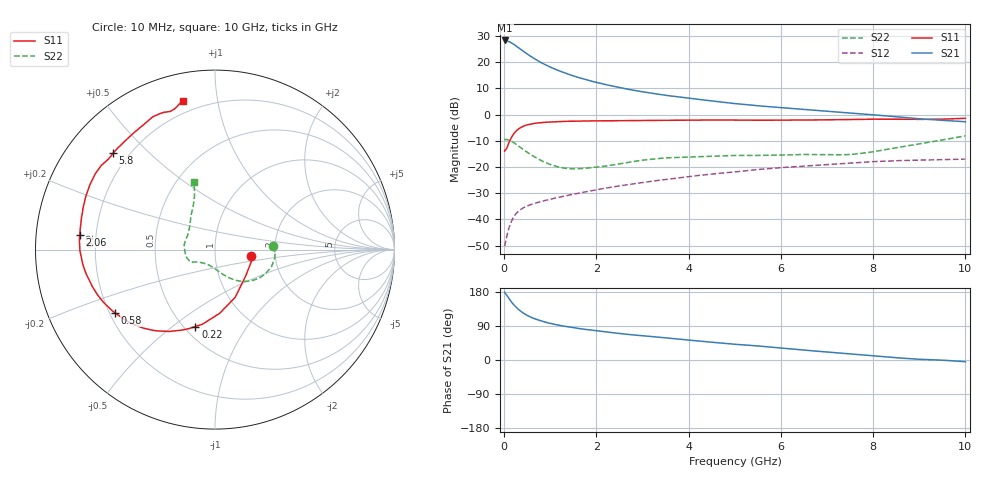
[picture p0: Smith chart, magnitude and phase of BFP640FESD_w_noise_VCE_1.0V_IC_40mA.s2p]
! Infineon Technologies  Discrete & RF Semiconductors
! BFP640FESD
! VCE =  1.0 V,  IC =  40 mA
! Common Emitter S-Parameters:  Jan 2016
# GHz  S  MA  R  50
!  f  S11  S21  S12  S22
! GHz  MAG  ANG  MAG  ANG  MAG  ANG  MAG  ANG
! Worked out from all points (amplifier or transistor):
!   233 points, 10 MHz to 10 GHz, reference 50 ohm
!   highest |S21| = 28.2 dB at 20 MHz (marker M1)
!   |S21| within 3 dB of that: start of sweep to 330.1 MHz
!   unconditionally stable (mu >= 1): start of sweep to end of sweep
!   at 200 MHz: K = 1.57, MAG = 28.6 dB, |S12| = -39.3 dB
!   at 1.74 GHz: K = 1.42, MAG = 17.7 dB, |S12| = -29.6 dB
!   at 10 GHz: K = 1.52, MAG = 2.9 dB, |S12| = -17.0 dB
!   lowest NFmin = 1.24 dB at 450 MHz
!   S11 on the Smith chart (normalised r, x): 10 MHz: 1.49, -0.11; 220 MHz: 0.57, -0.61; 580 MHz: 0.22, -0.28; 2.06 GHz: 0.14, +0.05; 5.8 GHz: 0.14, +0.39; 10 GHz: 0.13, +0.80
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0.01  0.201 -10.0  25.33 179.2  0.0031 34.1  0.3225 3.2
0.02  0.2129 -18.7  25.85 176.5  0.0034 27.4  0.3356 -2.6
0.05  0.2242 -39.7  25.31 172.1  0.0045 39.5  0.3366 -8.1
0.1  0.2894 -67.2  24.73 162.8  0.0067 50.3  0.3289 -16.9
0.15  0.3571 -86.1  23.55 154.4  0.0089 52.4  0.3132 -24.9
0.22  0.4422 -104.3  21.48 144.3  0.0116 51.5  0.2868 -34.3
0.3  0.523 -119.3  19.17 134.5  0.0141 49.5  0.2557 -43.5
0.4  0.5913 -132.2  16.48 125.0  0.0164 47.3  0.2203 -52.6
0.5  0.6358 -141.8  14.25 117.6  0.0181 46.2  0.1905 -59.8
0.58  0.6588 -147.6  12.79 113.0  0.0192 45.7  0.1714 -64.6
0.7  0.6873 -154.7  10.99 107.1  0.0208 45.8  0.1481 -71.5
0.8  0.7021 -159.2  9.795 103.1  0.022 46.1  0.1331 -76.4
1  0.7219 -166.5  8.027 96.6  0.0243 47.5  0.1116 -86.7
1.3  0.7418 -174.0  6.27 89.2  0.0278 49.7  0.0954 -102.2
1.68  0.7536 179.1  4.888 82.1  0.0325 52.2  0.0933 -119.9
2.06  0.7583 173.7  3.987 76.2  0.0376 53.8  0.1007 -131.8
3.4  0.7767 158.5  2.403 59.6  0.0564 54.3  0.1466 -151.6
5.1  0.7863 142.8  1.588 40.7  0.0823 49.2  0.166 -167.2
5.8  0.7809 136.6  1.401 33.9  0.0943 45.8  0.1676 -175.9
6.8  0.7903 125.9  1.191 23.1  0.1079 39.9  0.1723 166.0
8.4  0.8174 111.8  0.923 6.9  0.131 29.8  0.2252 126.7
10  0.8494 102.3  0.73 -4.5  0.1415 20.1  0.3921 107.4
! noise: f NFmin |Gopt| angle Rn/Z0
0.45  1.24  0.27  -171  0.08
2.4  1.28  0.28  -151  0.11
5.5  1.51  0.34  -146  0.12
10  2.04  0.48  -101  0.38
